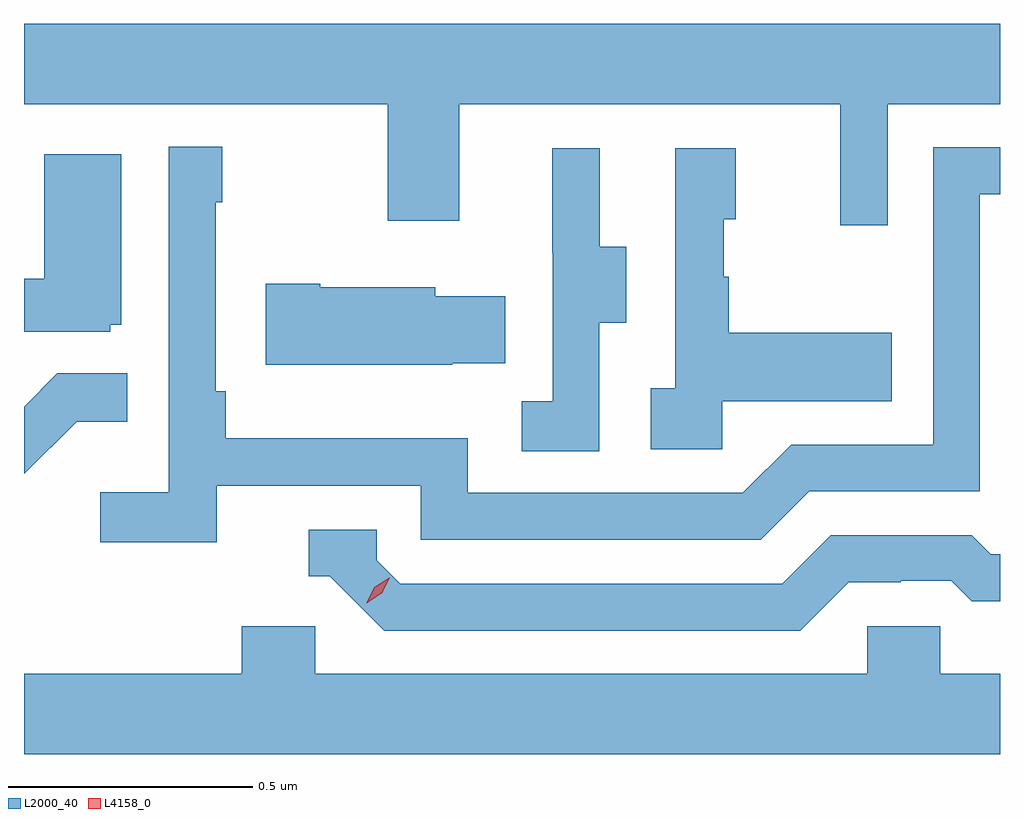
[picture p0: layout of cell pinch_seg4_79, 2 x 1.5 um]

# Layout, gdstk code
import gdstk
lib = gdstk.Library(unit=1e-6, precision=1e-09)
def P(c, l, *ps):  # polygons
    for p in ps: c.add(gdstk.Polygon(p, *l))
L2000_40 = (2000, 40)
L4158_0 = (4158, 0)

pinch_seg4_79 = lib.new_cell('pinch_seg4_79')
P(pinch_seg4_79, L2000_40, [(1060.179,830.12),(1060.409,830.12),(1060.409,830.284),(1058.409,830.284),(1058.409,830.12),(1059.154,830.12),(1059.154,829.881),(1059.301,829.881),(1059.301,830.12),(1060.082,830.12),(1060.082,829.872),(1060.179,829.872)],
  [(1058.804,829.338),(1059.222,829.338),(1059.222,829.227),(1059.919,829.227),(1060.018,829.326),(1060.368,829.326),(1060.368,829.935),(1060.409,829.935),(1060.409,830.031),(1060.272,830.031),(1060.272,829.422),(1059.981,829.422),(1059.882,829.323),(1059.318,829.323),(1059.318,829.435),(1058.822,829.435),(1058.822,829.531),(1058.802,829.531),(1058.802,829.919),(1058.815,829.919),(1058.815,830.032),(1058.706,830.032),(1058.706,829.324),(1058.565,829.324),(1058.565,829.222),(1058.804,829.222)],
  [(1059.588,829.672),(1059.643,829.672),(1059.643,829.827),(1059.589,829.827),(1059.589,830.029),(1059.491,830.029),(1059.491,829.815),(1059.492,829.815),(1059.492,829.511),(1059.429,829.511),(1059.429,829.408),(1059.588,829.408)],
  [(1059.84,829.511),(1060.187,829.511),(1060.187,829.651),(1059.853,829.651),(1059.853,829.766),(1059.843,829.766),(1059.843,829.884),(1059.868,829.884),(1059.868,830.029),(1059.744,830.029),(1059.744,829.538),(1059.693,829.538),(1059.693,829.413),(1059.84,829.413)],
  [(1058.586,829.668),(1058.608,829.668),(1058.608,830.017),(1058.45,830.017),(1058.45,829.762),(1058.409,829.762),(1058.409,829.653),(1058.586,829.653)],
  [(1059.287,829.589),(1059.395,829.589),(1059.395,829.726),(1059.252,829.726),(1059.252,829.744),(1059.016,829.744),(1059.016,829.752),(1058.904,829.752),(1058.904,829.586),(1059.287,829.586)],
  [(1058.517,829.469),(1058.621,829.469),(1058.621,829.568),(1058.477,829.568),(1058.409,829.5),(1058.409,829.362),(1058.41,829.362)],
  [(1060.099,829.14),(1060.206,829.14),(1060.206,829.143),(1060.309,829.143),(1060.351,829.101),(1060.409,829.101),(1060.409,829.197),(1060.39,829.197),(1060.351,829.236),(1060.062,829.236),(1059.963,829.137),(1059.18,829.137),(1059.132,829.185),(1059.132,829.248),(1058.993,829.248),(1058.993,829.152),(1059.036,829.152),(1059.147,829.041),(1060,829.041)],
  [(1060.409,828.952),(1060.287,828.952),(1060.287,829.05),(1060.137,829.05),(1060.137,828.952),(1059.006,828.952),(1059.006,829.05),(1058.855,829.05),(1058.855,828.952),(1058.409,828.952),(1058.409,828.788),(1060.409,828.788)])
P(pinch_seg4_79, L4158_0, [(1059.111,829.097),(1059.111,829.098),(1059.127,829.13),(1059.157,829.149),(1059.158,829.149),(1059.158,829.149),(1059.142,829.117),(1059.111,829.097)])

lib.write_gds('pinch_seg4_79.gds')
